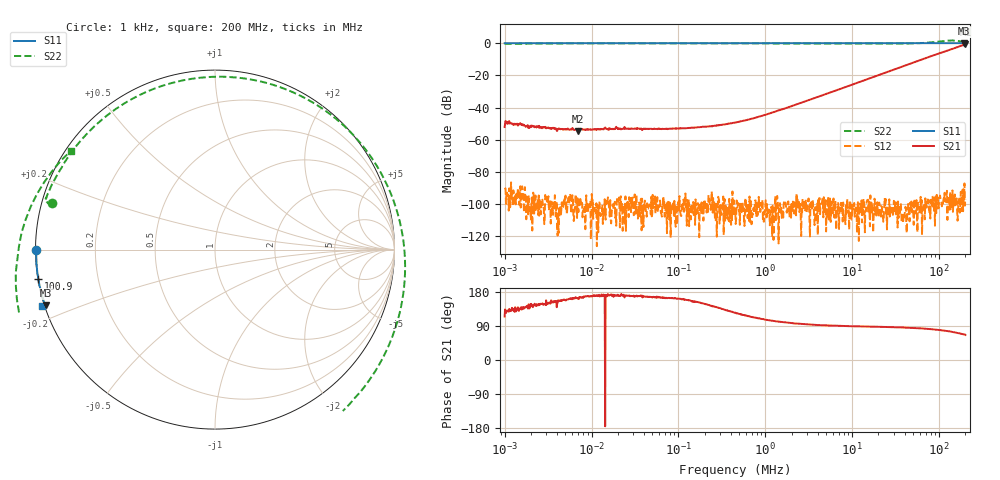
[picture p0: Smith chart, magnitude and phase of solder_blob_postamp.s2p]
! ListType=Log
# MHZ S RI R 50
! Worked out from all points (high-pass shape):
!   1000 points, 1 kHz to 200 MHz, reference 50 ohm
!   highest |S21| = -0.53 dB at 200 MHz (marker M1); lowest = -54.8 dB at 6.978 kHz (marker M2)
!   |S21| within 3 dB of the highest: 142.5 MHz to end of sweep
!   lowest |S11| = -0.1 dB at 192.8 MHz (marker M3), VSWR 261.55, Z = 0.196 - j8.04 ohm
!   |S11| at or under -10 dB: nowhere
!   |S22| runs from -0.5 to 1.7 dB; largest |S21 - S12| = 0.94
!   S11 on the Smith chart (normalised r, x): 1 kHz: 0.00, -0.00; 100.9 MHz: 0.00, -0.08; 200 MHz: -0.01, -0.16
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0.001  -0.9958 -0.000347  -0.00104 0.00227  -1.15e-05 -2.99e-05  -0.9089 0.26
0.0010893  -0.9962 -0.000849  -0.002 0.00243  1.98e-05 -3.7e-06  -0.9111 0.2599
0.0069776  -0.9957 -0.000285  -0.00175 0.000509  2.4e-06 -1.16e-05  -0.942 0.2747
0.0076941  -0.996 -0.000281  -0.00208 0.000577  -2.1e-06 8.4e-06  -0.9422 0.2759
0.0584804  -0.996 -0.000137  -0.00216 0.000511  1.1e-06 -7.5e-06  -0.9406 0.2882
0.4499541  -0.9962 -0.000702  -0.00195 0.00278  1.8e-06 7.1e-06  -0.9349 0.303
3.419952  -0.9963 -0.00562  -0.000998 0.0184  -1.8e-06 -7.2e-06  -0.8867 0.4028
12.03851  -0.9963 -0.0198  0.00143 0.0617  -7.5e-06 -3e-07  -0.7122 0.6466
26.31347  -0.9959 -0.0432  0.00708 0.1321  3.6e-06 -3.5e-06  -0.3118 0.9064
40.85134  -0.995 -0.0667  0.016 0.2026  -9e-07 -8.3e-06  0.1693 0.9527
56.12689  -0.9933 -0.0913  0.0286 0.2756  -1.2e-06 -6e-07  0.6436 0.7528
66.59778  -0.9917 -0.1081  0.0403 0.3251  -1.1e-05 4e-07  0.8882 0.4876
79.02208  -0.9895 -0.128  0.0568 0.3817  2e-07 -3.6e-06  1.045 0.0822
90.38953  -0.9871 -0.1462  0.0743 0.4315  -2.4e-06 -1.8e-05  1.036 -0.3237
100.8963  -0.9844 -0.1631  0.092 0.4757  -1.02e-05 -1.24e-05  0.8922 -0.6784
121.191  -0.9784 -0.1953  0.1311 0.557  -9.6e-06 -1.37e-05  0.3112 -1.139
140.3286  -0.9713 -0.2257  0.1775 0.6317  -1.27e-05 -1.27e-05  -0.3943 -1.141
152.8589  -0.9661 -0.2456  0.2111 0.6769  -1.3e-06 -9.2e-06  -0.7884 -0.9024
166.5079  -0.96 -0.267  0.2521 0.7278  -7e-06 -1.02e-05  -1.054 -0.491
179.1732  -0.9538 -0.2896  0.2954 0.7814  -1.87e-05 -8.8e-06  -1.102 -0.0581
192.8018  -0.9423 -0.3112  0.3367 0.8239  1.13e-05 -8e-06  -0.9529 0.3738
200  -0.9652 -0.314  0.3795 0.8603  -1.29e-05 -6.6e-06  -0.8026 0.5506
